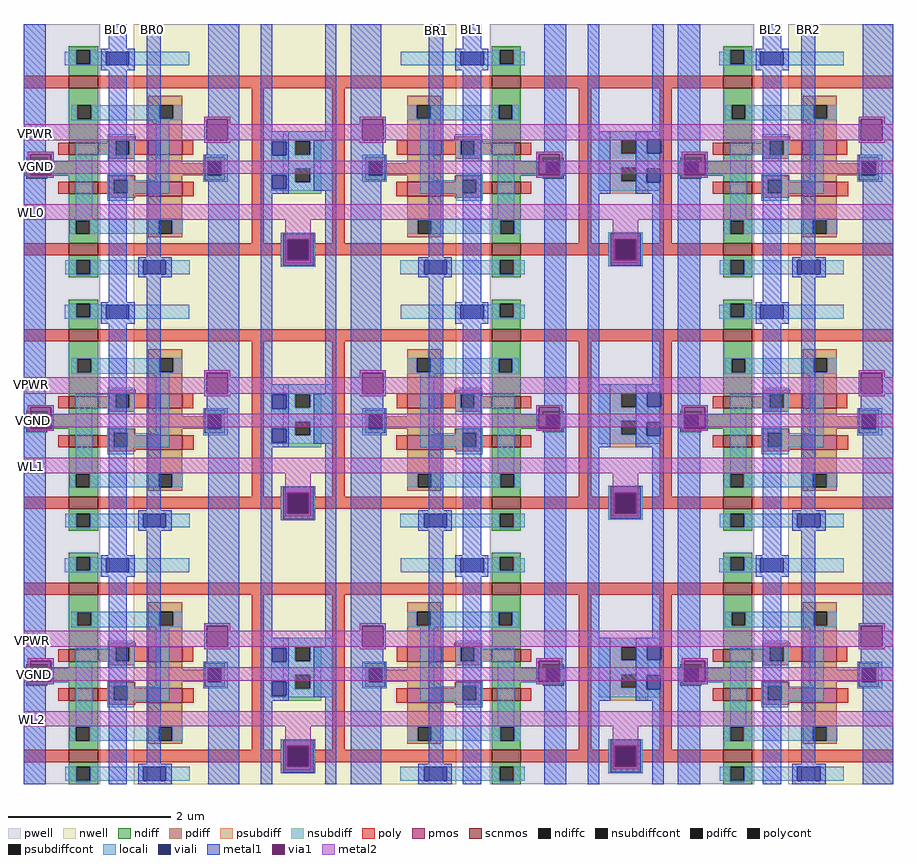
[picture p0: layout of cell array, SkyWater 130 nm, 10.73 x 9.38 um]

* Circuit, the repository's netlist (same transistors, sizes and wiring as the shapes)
* hand written spice for the memory array
.subckt cell_1rw BL BR VGND VPWR VPB VNB WL
* Access transistors (medium strength)
X0 QB WL BR VNB sky130_fd_pr__nfet_01v8 w=0.36 l=0.15
X2 BL WL Q VNB sky130_fd_pr__nfet_01v8 w=0.36 l=0.15

* inverter 1 PD transistor (strong strength)
X1 Q QB VGND VNB sky130_fd_pr__nfet_01v8 w=0.36 l=0.15
* inverter 1 PU transistor (weak strength)
X6 Q QB VPWR VPB sky130_fd_pr__pfet_01v8 w=0.42 l=0.18

* inverter 2 PU transistor (weak strength)
X5 VPWR Q QB VPB sky130_fd_pr__pfet_01v8 w=0.42 l=0.18
* inverter 2 PD transistor (strong strength)
X7 VGND Q QB VNB sky130_fd_pr__nfet_01v8 w=0.36 l=0.15
.ends

.subckt array WL0 WL1 WL2 BL0 BL1 BL2 BR0 BR1 BR2 VGND VPWR
Xc11 BL0 BR0 VGND VPWR VPWR VGND WL0 cell_1rw 
Xc12 BL1 BR1 VGND VPWR VPWR VGND WL0 cell_1rw 
Xc13 BL2 BR2 VGND VPWR VPWR VGND WL0 cell_1rw 
Xc21 BL0 BR0 VGND VPWR VPWR VGND WL1 cell_1rw 
Xc22 BL1 BR1 VGND VPWR VPWR VGND WL1 cell_1rw 
Xc23 BL2 BR2 VGND VPWR VPWR VGND WL1 cell_1rw 
Xc31 BL0 BR0 VGND VPWR VPWR VGND WL2 cell_1rw 
Xc32 BL1 BR1 VGND VPWR VPWR VGND WL2 cell_1rw 
Xc33 BL2 BR2 VGND VPWR VPWR VGND WL2 cell_1rw 
.ends

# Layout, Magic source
magic
tech sky130A
magscale 1 2
<< metal1 >>
rect 210 -1246 255 629
rect 304 -1246 339 629
rect 1000 -1246 1035 629
rect 1084 -1246 1129 629
rect 1824 -1246 1869 629
rect 1918 -1246 1953 629
<< metal2 >>
rect 0 342 2146 382
rect 0 259 2146 292
rect 0 146 2146 184
rect 0 -283 2146 -243
rect 0 -366 2146 -333
rect 0 -479 2146 -441
rect 0 -908 2146 -868
rect 0 -991 2146 -958
rect 0 -1104 2146 -1066
use cell_1rw  cell_1rw_3
transform 1 0 124 0 1 -256
box -124 -365 408 260
use ntap_1rw  ntap_1rw_1
transform 1 0 572 0 1 -559
box -40 -62 235 563
use ntap_1rw  ntap_1rw_2
transform 1 0 572 0 1 -1184
box -40 -62 235 563
use cell_1rw  cell_1rw_6
transform 1 0 124 0 1 -881
box -124 -365 408 260
use cell_1rw  cell_1rw_4
transform -1 0 1215 0 1 -256
box -124 -365 408 260
use cell_1rw  cell_1rw_7
transform -1 0 1215 0 1 -881
box -124 -365 408 260
use ptap_1rw  ptap_1rw_1
transform 1 0 1363 0 1 -589
box -24 -32 251 593
use ptap_1rw  ptap_1rw_2
transform 1 0 1363 0 1 -1214
box -24 -32 251 593
use cell_1rw  cell_1rw_5
transform 1 0 1738 0 1 -256
box -124 -365 408 260
use cell_1rw  cell_1rw_8
transform 1 0 1738 0 1 -881
box -124 -365 408 260
use ntap_1rw  ntap_1rw_0
transform 1 0 572 0 1 66
box -40 -62 235 563
use cell_1rw  cell_1rw_0
transform 1 0 124 0 1 369
box -124 -365 408 260
use cell_1rw  cell_1rw_1
transform -1 0 1215 0 1 369
box -124 -365 408 260
use ptap_1rw  ptap_1rw_0
transform 1 0 1363 0 1 36
box -24 -32 251 593
use cell_1rw  cell_1rw_2
transform 1 0 1738 0 1 369
box -124 -365 408 260
<< labels >>
rlabel metal2 12 154 28 172 1 WL0
port 1 n
rlabel metal2 13 -471 27 -456 1 WL1
port 2 n
rlabel metal2 14 -1095 29 -1080 1 WL2
port 3 n
rlabel metal1 221 607 238 622 1 BL0
port 4 n
rlabel metal1 309 608 328 623 1 BR0
port 5 n
rlabel metal1 1010 606 1025 619 1 BR1
port 6 n
rlabel metal1 1101 610 1112 622 1 BL1
port 7 n
rlabel metal1 1838 610 1850 623 1 BL2
port 8 n
rlabel metal1 1930 610 1942 623 1 BR2
port 9 n
rlabel metal2 19 348 39 368 1 VPWR
port 10 n
rlabel metal2 14 -267 26 -255 1 VPWR
port 10 n
rlabel metal2 17 -897 29 -885 1 VPWR
port 10 n
rlabel metal2 22 268 41 286 1 VGND
port 11 n
rlabel metal2 14 -359 33 -341 1 VGND
port 11 n
rlabel metal2 17 -984 36 -966 1 VGND
port 11 n
<< end >>

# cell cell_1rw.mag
magic
tech sky130A
magscale 1 2
<< nwell >>
rect 148 -365 408 260
<< pwell >>
rect -124 -365 65 260
<< scnmos >>
rect -12 102 60 132
rect -12 -63 60 -33
rect -12 -159 60 -129
rect -12 -311 60 -281
<< pmos >>
rect 184 -63 268 -27
rect 184 -165 268 -129
<< ndiff >>
rect -12 195 60 205
rect -12 161 6 195
rect 40 161 60 195
rect -12 132 60 161
rect -12 59 60 102
rect -12 25 9 59
rect 43 25 60 59
rect -12 -33 60 25
rect -118 -78 -66 -70
rect -12 -78 60 -63
rect -124 -79 60 -78
rect -124 -113 -108 -79
rect -74 -113 60 -79
rect -124 -114 60 -113
rect -118 -122 -66 -114
rect -12 -129 60 -114
rect -12 -224 60 -159
rect -12 -258 5 -224
rect 39 -258 60 -224
rect -12 -281 60 -258
rect -12 -323 60 -311
rect -12 -357 6 -323
rect 40 -357 60 -323
rect -12 -365 60 -357
<< pdiff >>
rect 184 60 268 83
rect 184 26 211 60
rect 245 26 268 60
rect 184 -27 268 26
rect 184 -83 268 -63
rect 322 -79 372 -67
rect 322 -83 330 -79
rect 184 -113 330 -83
rect 364 -113 372 -79
rect 184 -129 268 -113
rect 322 -125 372 -113
rect 184 -224 268 -165
rect 184 -258 209 -224
rect 243 -258 268 -224
rect 184 -266 268 -258
<< ndiffc >>
rect 6 161 40 195
rect 9 25 43 59
rect -108 -113 -74 -79
rect 5 -258 39 -224
rect 6 -357 40 -323
<< pdiffc >>
rect 211 26 245 60
rect 330 -113 364 -79
rect 209 -258 243 -224
<< poly >>
rect -124 102 -12 132
rect 60 102 408 132
rect 84 -27 153 -17
rect 84 -28 184 -27
rect 84 -33 103 -28
rect -38 -63 -12 -33
rect 60 -62 103 -33
rect 137 -62 184 -28
rect 60 -63 184 -62
rect 268 -63 294 -27
rect 84 -72 150 -63
rect 82 -124 151 -114
rect 82 -129 98 -124
rect -38 -159 -12 -129
rect 60 -158 98 -129
rect 132 -129 151 -124
rect 132 -158 184 -129
rect 60 -159 184 -158
rect 82 -165 184 -159
rect 268 -165 296 -129
rect 82 -169 151 -165
rect -124 -311 -12 -281
rect 60 -311 408 -281
<< polycont >>
rect 103 -62 137 -28
rect 98 -158 132 -124
<< locali >>
rect -12 192 6 195
rect -22 161 6 192
rect 40 192 60 195
rect 40 161 80 192
rect -22 158 80 161
rect 136 158 285 192
rect -7 59 211 60
rect -7 25 9 59
rect 43 26 211 59
rect 245 26 268 60
rect 43 25 268 26
rect -7 22 268 25
rect 84 -28 150 -12
rect 84 -29 103 -28
rect 5 -62 103 -29
rect 137 -62 150 -28
rect 5 -63 150 -62
rect -124 -79 -54 -78
rect -124 -113 -108 -79
rect -74 -113 -54 -79
rect -124 -114 -54 -113
rect 5 -221 45 -63
rect 84 -78 150 -63
rect 82 -124 148 -112
rect 82 -158 98 -124
rect 132 -125 148 -124
rect 202 -125 236 22
rect 132 -158 236 -125
rect 319 -79 380 -63
rect 319 -113 330 -79
rect 364 -113 380 -79
rect 319 -129 380 -113
rect 82 -159 236 -158
rect 82 -176 148 -159
rect -11 -224 269 -221
rect -11 -258 5 -224
rect 39 -258 209 -224
rect 243 -258 269 -224
rect -21 -357 6 -323
rect 40 -357 171 -323
rect 227 -357 286 -323
rect 6 -361 40 -357
<< viali >>
rect 80 158 136 192
rect -108 -113 -74 -79
rect 330 -113 364 -79
rect 171 -357 227 -323
<< metal1 >>
rect -124 -55 -69 260
rect 86 199 131 260
rect 68 192 150 199
rect 68 158 80 192
rect 136 158 150 192
rect 68 146 150 158
rect -124 -61 -50 -55
rect -124 -113 -108 -61
rect -56 -113 -50 -61
rect -124 -119 -50 -113
rect -124 -122 -67 -119
rect -124 -365 -69 -122
rect 86 -365 131 146
rect 180 -315 215 260
rect 332 31 408 260
rect 322 25 408 31
rect 322 -27 328 25
rect 380 -27 408 25
rect 322 -33 408 -27
rect 328 -63 408 -33
rect 323 -79 408 -63
rect 323 -113 330 -79
rect 364 -113 408 -79
rect 323 -125 408 -113
rect 159 -323 241 -315
rect 159 -357 171 -323
rect 227 -357 241 -323
rect 159 -365 241 -357
rect 332 -365 408 -125
<< via1 >>
rect -108 -79 -56 -61
rect -108 -113 -74 -79
rect -74 -113 -56 -79
rect 328 -27 380 25
<< metal2 >>
rect 322 25 386 31
rect 322 13 328 25
rect -124 -27 328 13
rect 380 13 386 25
rect 380 -27 408 13
rect 322 -33 386 -27
rect -114 -61 -50 -55
rect -114 -77 -108 -61
rect -124 -110 -108 -77
rect -114 -113 -108 -110
rect -56 -77 -50 -61
rect -56 -110 408 -77
rect -56 -113 -50 -110
rect -114 -119 -50 -113
rect -124 -223 408 -185
<< labels >>
rlabel pwell -65 -357 -53 -343 1 VNB
port 1 n
rlabel metal1 -93 -348 -74 -329 1 VGND
port 2 n
rlabel metal1 96 66 115 85 1 BL
port 3 n
rlabel metal1 187 66 206 85 1 BR
port 4 n
rlabel poly 141 107 160 126 1 WL
port 5 n
rlabel poly 135 -308 154 -289 1 WL
port 5 n
rlabel nwell 377 -350 400 -326 1 VPB
port 6 n
rlabel metal1 337 -349 360 -325 1 VPWR
port 7 n
<< end >>

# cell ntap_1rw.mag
magic
tech sky130A
magscale 1 2
<< nwell >>
rect -40 -62 235 563
<< nsubdiff >>
rect 68 275 162 299
rect 68 241 98 275
rect 135 241 162 275
rect 68 207 162 241
rect 68 173 98 207
rect 135 173 162 207
rect 68 144 162 173
<< nsubdiffcont >>
rect 98 241 135 275
rect 98 173 135 207
<< poly >>
rect -40 405 235 435
rect -9 22 21 405
rect 63 32 147 48
rect 63 22 79 32
rect -40 -8 79 22
rect 63 -20 79 -8
rect 131 22 147 32
rect 190 22 220 405
rect 131 -8 235 22
rect 131 -20 147 -8
rect 63 -36 147 -20
<< polycont >>
rect 79 -20 131 32
<< locali >>
rect 39 275 190 299
rect 39 273 98 275
rect 39 239 42 273
rect 76 241 98 273
rect 135 241 190 275
rect 76 239 190 241
rect 39 207 190 239
rect 39 190 98 207
rect 39 156 42 190
rect 76 173 98 190
rect 135 173 190 207
rect 76 156 190 173
rect 39 152 190 156
rect 63 32 147 48
rect 63 -20 79 32
rect 131 -20 147 32
rect 63 -36 147 -20
<< viali >>
rect 42 239 76 273
rect 42 156 76 190
rect 79 -20 131 32
<< metal1 >>
rect 13 299 41 563
rect 13 273 82 299
rect 172 276 200 563
rect 13 239 42 273
rect 76 239 82 273
rect 13 190 82 239
rect 13 156 42 190
rect 76 156 82 190
rect 13 144 82 156
rect 144 152 200 276
rect 13 -62 41 144
rect 69 32 144 46
rect 69 -20 79 32
rect 131 -20 144 32
rect 69 -34 144 -20
rect 172 -62 200 152
<< via1 >>
rect 79 -20 131 32
<< metal2 >>
rect -40 276 235 316
rect -40 193 235 226
rect -40 80 235 118
rect 73 32 137 80
rect 73 -20 79 32
rect 131 -20 137 32
rect 73 -27 137 -20
<< properties >>
string FIXED_BBOX @z���
<< end >>

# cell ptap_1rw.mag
magic
tech sky130A
magscale 1 2
<< pwell >>
rect -24 -32 251 593
<< psubdiff >>
rect 84 307 178 329
rect 84 273 112 307
rect 149 273 178 307
rect 84 239 178 273
rect 84 205 111 239
rect 148 205 178 239
rect 84 174 178 205
<< psubdiffcont >>
rect 112 273 149 307
rect 111 205 148 239
<< poly >>
rect -24 435 251 465
rect 7 52 38 435
rect 80 62 164 79
rect 80 52 96 62
rect -24 22 96 52
rect 80 10 96 22
rect 148 52 164 62
rect 206 52 236 435
rect 148 22 251 52
rect 148 10 164 22
rect 80 -5 164 10
<< polycont >>
rect 96 10 148 62
<< locali >>
rect 56 308 207 329
rect 56 307 176 308
rect 56 273 112 307
rect 149 274 176 307
rect 149 273 207 274
rect 56 239 207 273
rect 56 205 111 239
rect 148 236 207 239
rect 148 205 174 236
rect 56 202 174 205
rect 56 182 207 202
rect 80 62 164 79
rect 80 10 96 62
rect 148 10 164 62
rect 80 -5 164 10
<< viali >>
rect 176 274 210 308
rect 174 202 208 236
rect 96 10 148 62
<< metal1 >>
rect 29 329 57 593
rect 188 329 216 593
rect 29 174 84 329
rect 147 308 216 329
rect 147 274 176 308
rect 210 274 216 308
rect 147 236 216 274
rect 147 202 174 236
rect 208 202 216 236
rect 147 174 216 202
rect 29 -32 57 174
rect 85 62 160 77
rect 85 10 96 62
rect 148 10 160 62
rect 85 -3 160 10
rect 188 -32 216 174
<< via1 >>
rect 96 10 148 62
<< metal2 >>
rect -24 306 251 346
rect -24 223 251 256
rect -24 110 251 148
rect 90 62 154 110
rect 90 10 96 62
rect 148 10 154 62
rect 90 4 154 10
<< end >>
